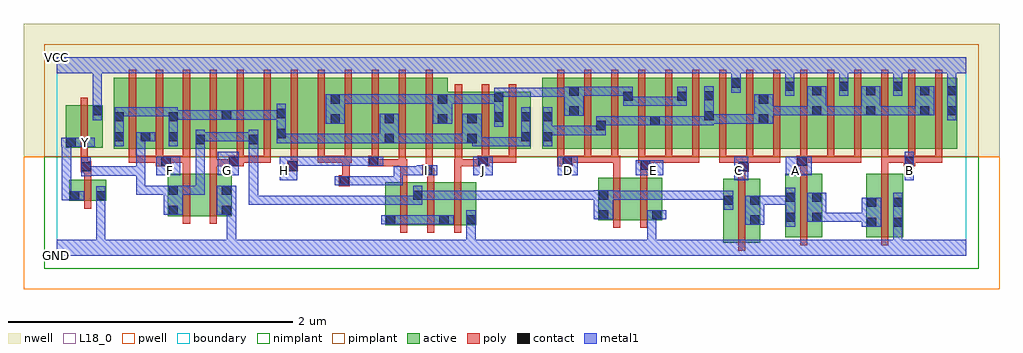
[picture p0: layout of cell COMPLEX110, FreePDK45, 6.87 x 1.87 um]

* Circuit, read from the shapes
.subckt COMPLEX110 A B C D E F G GND H I J VCC Y
M1 GND n1 Y VSUBS nfet w=0.15u l=0.05u
M2 n2 F n1 VSUBS nfet w=0.3u l=0.05u
M3 GND G n2 VSUBS nfet w=0.3u l=0.05u
M4 n1 H n3 VSUBS nfet w=0.3u l=0.05u
M5 n3 I n1 VSUBS nfet w=0.3u l=0.05u
M6 GND J n3 VSUBS nfet w=0.3u l=0.05u
M7 n4 D n1 VSUBS nfet w=0.3u l=0.05u
M8 GND E n4 VSUBS nfet w=0.3u l=0.05u
M9 n5 C n1 VSUBS nfet w=0.45u l=0.05u
M10 n6 A n5 VSUBS nfet w=0.45u l=0.05u
M11 GND B n6 VSUBS nfet w=0.45u l=0.05u
M12 VCC n1 Y n7 pfet w=0.3u l=0.05u
M13 n1 F n8 n7 pfet w=0.5u l=0.05u m=3
M14 n8 G n1 n7 pfet w=0.5u l=0.05u m=3
M15 n9 H n8 n7 pfet w=0.5u l=0.05u
M16 n10 I n9 n7 pfet w=0.5u l=0.05u
M17 n11 I n10 n7 pfet w=0.5u l=0.05u
M18 n8 H n11 n7 pfet w=0.5u l=0.05u
M19 n12 H n8 n7 pfet w=0.5u l=0.05u
M20 n10 I n12 n7 pfet w=0.5u l=0.05u
M21 n8 J n10 n7 pfet w=0.4u l=0.05u m=3
M22 n10 D n13 n7 pfet w=0.5u l=0.05u m=3
M23 n13 E n10 n7 pfet w=0.5u l=0.05u m=3
M24 VCC C n13 n7 pfet w=0.5u l=0.05u m=3
M25 n13 A VCC n7 pfet w=0.5u l=0.05u m=3
M26 VCC B n13 n7 pfet w=0.5u l=0.05u m=3
.ends

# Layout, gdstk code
import gdstk
lib = gdstk.Library(unit=1e-6, precision=1e-09)
def R(c, l, rs):  # rectangles x0, y0, x1, y1
    for r in rs: c.add(gdstk.rectangle(r[:2], r[2:], *l))
def A(c, l, x, y, w, h, nx, ny, dx, dy):  # array of equal rectangles
    R(c, l, [(x+i*dx, y+j*dy, x+i*dx+w, y+j*dy+h) for i in range(nx) for j in range(ny)])
active = (1, 0)
pwell = (2, 0)
nwell = (3, 0)
nimplant = (4, 0)
pimplant = (5, 0)
poly = (9, 0)
contact = (10, 0)
metal1 = (11, 0)
L18_0 = (18, 0)
boundary = (235, 0)

complex110 = lib.new_cell('COMPLEX110')
A(complex110, active, 1.542, 0.755, 0.225, 0.5, 3, 1, 0.38, 0)
A(complex110, active, 3.602, 0.755, 0.265, 0.5, 6, 1, 0.19, 0)
A(complex110, active, 5.122, 0.755, 0.265, 0.5, 6, 1, 0.19, 0)
A(complex110, active, 3.602, 0.807, 0.075, 0.393, 3, 1, 0.38, 0)
A(complex110, active, 4.742, 0.807, 0.075, 0.448, 4, 1, 0.38, 0)
A(complex110, active, 5.312, 0.807, 0.075, 0.393, 3, 1, 0.38, 0)
R(complex110, active, [(4.69,0.092,4.95,0.542), (5.127,0.13,5.387,0.58), (5.697,0.13,5.957,0.58), (4.69,0.195,4.765,0.542), (4.875,0.195,4.95,0.542), (5.127,0.195,5.202,0.58), (5.312,0.195,5.387,0.58), (5.697,0.195,5.772,0.58), (5.882,0.195,5.957,0.58), (2.312,0.217,2.577,0.517), (2.312,0.217,2.387,0.405), (2.502,0.217,2.762,0.517), (2.687,0.217,2.952,0.517), (2.687,0.217,2.762,0.497), (2.877,0.217,2.952,0.392), (3.81,0.252,4.035,0.552), (3.81,0.252,3.885,0.552), (4.035,0.252,4.26,0.552), (4.185,0.252,4.26,0.497), (0.782,0.28,1.007,0.58), (0.782,0.28,0.857,0.58), (1.007,0.28,1.232,0.58), (1.157,0.28,1.232,0.58), (2.502,0.33,2.577,0.465), (0.087,0.387,0.162,0.537), (0.087,0.387,0.347,0.537), (0.272,0.387,0.347,0.537), (0.402,0.755,0.662,1.255), (0.402,0.755,0.477,1.2), (0.587,0.755,0.857,1.255), (0.587,0.755,0.662,1.07), (0.782,0.755,1.047,1.255), (0.782,0.755,0.857,1.2), (0.972,0.755,1.232,1.255), (0.972,0.755,1.047,1.07), (1.157,0.755,1.422,1.255), (1.347,0.755,1.617,1.255), (1.347,0.755,1.422,1.07), (1.542,0.755,1.617,1.2), (1.767,0.755,1.997,1.255), (2.147,0.755,2.377,1.255), (2.302,0.755,2.377,1.07), (2.527,0.755,2.752,1.255), (2.677,0.755,2.96,1.155), (2.885,0.755,2.96,1.07), (2.885,0.755,3.147,1.155), (3.072,0.755,3.337,1.155), (3.262,0.755,3.337,1.07), (3.417,0.755,3.677,1.255), (3.417,0.755,3.492,1.07), (4.742,0.755,5.012,1.255), (4.937,0.755,5.197,1.255), (6.262,0.755,6.337,1.255), (0.062,0.76,0.322,1.06), (0.062,0.76,0.137,1.055), (0.247,0.76,0.322,1.06), (1.157,0.807,1.232,1.2), (1.922,0.807,1.997,1.2), (3.792,0.807,3.867,1.07), (4.172,0.807,4.247,1.07), (4.552,0.807,4.627,1.2), (4.937,0.807,5.012,1.2), (2.677,0.822,2.752,1.2), (3.072,0.907,3.147,1.155)])
R(complex110, pwell, [(-0.235,-0.235,6.635,0.7)])
R(complex110, nwell, [(-0.235,0.7,6.635,1.635)])
R(complex110, nimplant, [(-0.09,-0.09,6.49,0.7)])
R(complex110, pimplant, [(-0.09,0.7,6.49,1.49)])
A(complex110, poly, 2.417, 0.162, 0.05, 0.41, 3, 1, 0.19, 0)
A(complex110, poly, 0.507, 0.655, 0.05, 0.095, 3, 1, 0.19, 0)
A(complex110, poly, 1.837, 0.655, 0.05, 0.095, 3, 1, 0.19, 0)
A(complex110, poly, 3.522, 0.655, 0.05, 0.095, 15, 1, 0.19, 0)
A(complex110, poly, 3.712, 0.655, 0.24, 0.05, 3, 1, 0.57, 0)
A(complex110, poly, 5.422, 0.655, 0.05, 0.05, 3, 1, 0.19, 0)
A(complex110, poly, 0.507, 0.7, 0.05, 0.61, 12, 1, 0.19, 0)
A(complex110, poly, 2.802, 0.7, 0.05, 0.51, 3, 1, 0.19, 0)
A(complex110, poly, 3.522, 0.7, 0.05, 0.61, 15, 1, 0.19, 0)
R(complex110, poly, [(4.795,0.037,4.845,0.597), (5.232,0.075,5.282,0.635), (5.802,0.075,5.852,0.635), (3.915,0.197,3.965,0.607), (4.105,0.197,4.155,0.607), (0.887,0.225,0.937,0.635), (1.077,0.225,1.127,0.635), (0.192,0.332,0.242,0.592), (1.985,0.492,2.06,0.567), (2.01,0.517,2.06,0.705), (2.417,0.522,2.467,0.68), (2.607,0.522,2.657,0.617), (2.797,0.522,2.847,0.68), (0.192,0.542,0.242,0.64), (4.795,0.547,4.845,0.642), (3.915,0.557,3.965,0.705), (4.105,0.557,4.155,0.652), (2.572,0.567,2.647,0.642), (2.597,0.567,2.647,0.617), (2.597,0.567,2.657,0.617), (0.887,0.585,0.937,0.705), (1.077,0.585,1.127,0.68), (5.232,0.585,5.282,0.68), (5.802,0.585,5.852,0.705), (0.167,0.59,0.242,0.665), (0.192,0.59,0.242,0.64), (0.192,0.59,0.242,0.64), (2.597,0.592,2.647,0.75), (4.795,0.592,4.87,0.667), (1.622,0.595,1.697,0.67), (4.105,0.602,4.18,0.677), (0.167,0.615,0.217,0.755), (4.82,0.617,4.87,0.705), (1.647,0.62,1.697,0.75), (4.105,0.627,4.155,0.705), (0.697,0.63,0.805,0.705), (1.077,0.63,1.127,0.68), (1.077,0.63,1.127,0.68), (1.077,0.63,1.127,0.68), (1.077,0.63,1.127,0.68), (1.077,0.63,1.127,0.68), (1.077,0.63,1.127,0.75), (1.077,0.63,1.26,0.68), (1.21,0.63,1.317,0.705), (2.192,0.63,2.267,0.705), (2.217,0.63,2.457,0.68), (2.407,0.63,2.457,0.68), (2.407,0.63,2.457,0.68), (2.407,0.63,2.457,0.75), (2.407,0.63,2.467,0.68), (2.417,0.63,2.467,0.68), (2.417,0.63,2.467,0.68), (2.797,0.63,2.847,0.68), (2.797,0.63,2.847,0.68), (2.797,0.63,2.852,0.68), (2.802,0.63,3.012,0.68), (2.802,0.63,2.852,0.75), (2.962,0.63,3.012,0.68), (2.962,0.63,3.012,0.68), (2.962,0.63,3.042,0.705), (3.522,0.63,3.63,0.705), (5.207,0.63,5.282,0.705), (5.232,0.63,5.282,0.68), (5.232,0.63,5.282,0.68), (5.962,0.63,6.042,0.705), (0.507,0.655,0.557,0.705), (0.507,0.655,0.557,0.705), (0.507,0.655,0.557,0.705), (0.507,0.655,0.747,0.705), (0.755,0.655,0.805,0.705), (0.755,0.655,0.805,0.705), (0.755,0.655,0.937,0.705), (0.887,0.655,0.937,0.705), (0.887,0.655,0.937,0.705), (0.887,0.655,0.937,0.705), (1.267,0.655,1.317,0.75), (1.267,0.655,1.507,0.705), (1.457,0.655,1.507,0.75), (1.457,0.655,1.507,0.705), (1.457,0.655,1.507,0.705), (1.457,0.655,1.507,0.705), (1.837,0.655,1.887,0.705), (1.837,0.655,1.887,0.705), (1.837,0.655,1.887,0.705), (1.837,0.655,2.06,0.705), (2.01,0.655,2.077,0.705), (2.992,0.655,3.042,0.75), (2.992,0.655,3.232,0.705), (3.182,0.655,3.232,0.75), (3.182,0.655,3.232,0.705), (3.182,0.655,3.232,0.705), (3.182,0.655,3.232,0.705), (3.58,0.655,3.63,0.705), (3.58,0.655,3.63,0.705), (3.58,0.655,3.762,0.705), (3.712,0.655,3.762,0.705), (3.902,0.655,3.952,0.705), (3.902,0.655,3.952,0.705), (3.902,0.655,3.952,0.705), (3.902,0.655,3.952,0.705), (3.902,0.655,3.965,0.705), (4.092,0.655,4.155,0.705), (4.105,0.655,4.155,0.705), (4.105,0.655,4.155,0.705), (4.105,0.655,4.332,0.705), (4.282,0.655,4.332,0.705), (4.472,0.655,4.522,0.705), (4.472,0.655,4.522,0.705), (4.472,0.655,4.522,0.705), (4.662,0.655,4.712,0.705), (4.662,0.655,4.712,0.705), (4.662,0.655,4.712,0.705), (4.662,0.655,4.87,0.705), (4.82,0.655,4.902,0.705), (5.042,0.655,5.092,0.705), (5.042,0.655,5.092,0.705), (5.042,0.655,5.092,0.705), (5.232,0.655,5.282,0.705), (5.232,0.655,5.282,0.705), (5.232,0.655,5.472,0.705), (5.422,0.655,5.472,0.705), (5.422,0.655,5.472,0.705), (5.422,0.655,5.662,0.705), (5.802,0.655,5.852,0.705), (5.802,0.655,5.852,0.705), (5.802,0.655,6.012,0.705), (5.962,0.655,6.012,0.705), (5.962,0.655,6.012,0.705), (5.992,0.655,6.232,0.705), (6.182,0.655,6.232,0.705), (6.182,0.655,6.232,0.705), (6.182,0.655,6.232,0.705), (0.167,0.705,0.217,1.115)])
A(complex110, contact, 5.317, 0.99, 0.065, 0.065, 3, 2, 0.38, 0.14)
A(complex110, contact, 5.127, 1.162, 0.065, 0.065, 3, 1, 0.38, 0)
R(complex110, contact, [(5.702,0.205,5.767,0.27), (5.887,0.205,5.952,0.27), (4.88,0.22,4.945,0.285), (2.317,0.222,2.382,0.287), (2.692,0.222,2.757,0.287), (2.882,0.222,2.947,0.287), (5.132,0.24,5.197,0.305), (5.317,0.24,5.382,0.305), (3.815,0.257,3.88,0.322), (4.19,0.257,4.255,0.322), (0.787,0.29,0.852,0.355), (1.162,0.29,1.227,0.355), (5.702,0.345,5.767,0.41), (5.887,0.345,5.952,0.41), (4.695,0.36,4.76,0.425), (4.88,0.36,4.945,0.425), (5.132,0.38,5.197,0.445), (5.317,0.38,5.382,0.445), (0.092,0.392,0.157,0.457), (0.277,0.392,0.342,0.457), (2.507,0.395,2.572,0.46), (3.815,0.397,3.88,0.462), (0.787,0.43,0.852,0.495), (1.162,0.43,1.227,0.495), (1.99,0.497,2.055,0.562), (2.577,0.572,2.642,0.637), (0.172,0.595,0.237,0.66), (4.8,0.597,4.865,0.662), (1.627,0.6,1.692,0.665), (4.11,0.607,4.175,0.672), (0.735,0.635,0.8,0.7), (1.215,0.635,1.28,0.7), (2.197,0.635,2.262,0.7), (2.967,0.635,3.032,0.7), (3.56,0.635,3.625,0.7), (5.212,0.635,5.277,0.7), (5.967,0.635,6.032,0.7), (0.067,0.767,0.132,0.832), (0.977,0.787,1.042,0.852), (1.352,0.787,1.417,0.852), (2.307,0.795,2.372,0.86), (2.89,0.795,2.955,0.86), (0.407,0.807,0.472,0.872), (0.592,0.807,0.657,0.872), (0.787,0.807,0.852,0.872), (3.267,0.807,3.332,0.872), (3.422,0.807,3.487,0.872), (1.547,0.83,1.612,0.895), (3.797,0.885,3.862,0.95), (4.177,0.92,4.242,0.985), (1.927,0.932,1.992,0.997), (2.682,0.932,2.747,0.997), (4.942,0.932,5.007,0.997), (2.307,0.935,2.372,1), (2.89,0.935,2.955,1), (3.077,0.945,3.142,1.01), (0.407,0.947,0.472,1.012), (0.787,0.947,0.852,1.012), (3.267,0.947,3.332,1.012), (3.422,0.947,3.487,1.012), (4.557,0.955,4.622,1.02), (1.162,0.96,1.227,1.025), (1.547,0.97,1.612,1.035), (3.607,0.987,3.672,1.052), (0.252,0.99,0.317,1.055), (6.267,0.99,6.332,1.055), (1.927,1.072,1.992,1.137), (2.682,1.072,2.747,1.137), (4.942,1.072,5.007,1.137), (3.077,1.085,3.142,1.15), (3.987,1.092,4.052,1.157), (4.367,1.092,4.432,1.157), (4.557,1.095,4.622,1.16), (3.607,1.127,3.672,1.192), (6.267,1.13,6.332,1.195), (4.747,1.185,4.812,1.25)])
A(complex110, metal1, 5.282, 0.99, 0.135, 0.205, 3, 1, 0.38, 0)
A(complex110, metal1, 5.127, 1.127, 0.065, 0.135, 3, 1, 0.38, 0)
A(complex110, metal1, 5.127, 1.197, 0.065, 0.153, 3, 1, 0.38, 0)
R(complex110, metal1, [(0,0,6.4,0.115), (0.277,0.05,0.342,0.115), (0.277,0.05,0.342,0.115), (0.277,0.05,0.342,0.422), (1.197,0.05,1.262,0.355), (2.882,0.05,2.947,0.115), (2.882,0.05,2.947,0.115), (2.882,0.05,2.947,0.252), (4.155,0.05,4.22,0.322), (5.887,0.05,5.952,0.235), (5.887,0.17,5.952,0.445), (2.882,0.187,2.947,0.322), (5.132,0.205,5.197,0.48), (5.667,0.205,5.802,0.41), (4.845,0.22,4.98,0.425), (2.282,0.222,2.417,0.287), (2.352,0.222,2.435,0.287), (2.37,0.222,2.435,0.287), (2.37,0.222,2.575,0.287), (2.51,0.222,2.575,0.287), (2.51,0.222,2.575,0.287), (2.51,0.222,2.575,0.287), (2.51,0.222,2.722,0.287), (2.657,0.222,2.792,0.287), (5.282,0.24,5.417,0.445), (5.352,0.24,5.417,0.305), (5.352,0.24,5.417,0.305), (5.352,0.24,5.555,0.305), (5.49,0.24,5.555,0.305), (5.49,0.24,5.555,0.305), (5.49,0.24,5.555,0.305), (5.49,0.24,5.732,0.305), (3.78,0.257,3.915,0.462), (4.155,0.257,4.22,0.322), (4.155,0.257,4.22,0.322), (4.155,0.257,4.29,0.322), (0.752,0.29,0.887,0.495), (1.127,0.29,1.262,0.495), (1.197,0.29,1.262,0.355), (1.197,0.29,1.262,0.355), (4.695,0.325,4.76,0.46), (0.277,0.357,0.342,0.422), (0.277,0.357,0.342,0.422), (0.277,0.357,0.342,0.492), (1.352,0.36,1.417,0.425), (1.352,0.36,1.417,0.425), (1.352,0.36,1.417,0.425), (1.352,0.36,1.612,0.425), (1.352,0.36,1.417,0.817), (1.547,0.36,1.612,0.425), (1.547,0.36,1.612,0.425), (1.547,0.36,1.612,0.425), (1.547,0.36,1.82,0.425), (1.755,0.36,1.82,0.425), (1.755,0.36,1.83,0.425), (1.765,0.36,1.83,0.425), (1.765,0.36,2.06,0.425), (1.995,0.36,2.06,0.425), (1.995,0.36,2.06,0.425), (1.995,0.36,2.06,0.425), (1.995,0.36,2.2,0.425), (2.135,0.36,2.2,0.425), (2.135,0.36,2.297,0.425), (2.232,0.36,2.297,0.425), (2.232,0.36,2.435,0.425), (2.37,0.36,2.572,0.425), (2.37,0.36,2.435,0.425), (2.37,0.36,2.435,0.425), (2.37,0.36,2.435,0.425), (2.507,0.36,2.572,0.495), (4.915,0.36,4.98,0.425), (4.915,0.36,4.98,0.425), (4.915,0.36,5.197,0.425), (0.035,0.392,0.1,0.457), (0.035,0.392,0.1,0.457), (0.035,0.392,0.1,0.457), (0.035,0.392,0.1,0.457), (0.035,0.392,0.1,0.832), (0.035,0.392,0.122,0.457), (0.057,0.392,0.122,0.457), (0.057,0.392,0.192,0.457), (2.507,0.395,2.572,0.46), (2.507,0.395,2.572,0.46), (2.507,0.395,2.782,0.46), (2.717,0.395,2.782,0.46), (2.717,0.395,2.782,0.46), (2.717,0.395,2.782,0.46), (2.717,0.395,2.99,0.46), (2.925,0.395,3.127,0.46), (2.925,0.395,2.99,0.46), (2.925,0.395,2.99,0.46), (2.925,0.395,2.99,0.46), (3.062,0.395,3.127,0.46), (3.062,0.395,3.127,0.46), (3.062,0.395,3.127,0.46), (3.062,0.395,3.28,0.46), (3.215,0.395,3.28,0.46), (3.215,0.395,3.432,0.46), (3.367,0.395,3.432,0.46), (3.367,0.395,3.432,0.46), (3.367,0.395,3.432,0.46), (3.367,0.395,3.707,0.46), (3.642,0.395,3.707,0.46), (3.642,0.395,3.707,0.46), (3.642,0.395,3.707,0.46), (3.642,0.395,3.845,0.46), (3.85,0.395,3.915,0.46), (3.85,0.395,3.915,0.46), (3.85,0.395,4.07,0.46), (4.005,0.395,4.207,0.46), (4.005,0.395,4.07,0.46), (4.005,0.395,4.07,0.46), (4.005,0.395,4.07,0.46), (4.142,0.395,4.207,0.46), (4.142,0.395,4.207,0.46), (4.142,0.395,4.207,0.46), (4.142,0.395,4.415,0.46), (4.35,0.395,4.552,0.46), (4.35,0.395,4.415,0.46), (4.487,0.395,4.552,0.46), (4.487,0.395,4.552,0.46), (4.487,0.395,4.552,0.46), (4.487,0.395,4.695,0.46), (4.63,0.395,4.695,0.46), (4.63,0.395,4.76,0.46), (0.557,0.43,0.622,0.495), (0.557,0.43,0.785,0.495), (0.557,0.43,0.622,0.63), (0.72,0.43,0.785,0.495), (0.72,0.43,0.785,0.495), (0.72,0.43,0.817,0.495), (0.752,0.43,0.817,0.495), (0.752,0.43,0.922,0.495), (0.857,0.43,0.922,0.495), (0.857,0.43,1.042,0.495), (0.977,0.43,1.042,0.495), (0.977,0.43,1.042,0.817), (1.955,0.497,2.09,0.562), (2.025,0.497,2.2,0.562), (2.135,0.497,2.2,0.562), (2.135,0.497,2.297,0.562), (2.232,0.497,2.297,0.562), (2.232,0.497,2.435,0.562), (2.37,0.497,2.435,0.562), (2.37,0.497,2.435,0.632), (1.567,0.532,1.692,0.7), (4.767,0.532,4.865,0.697), (5.967,0.532,6.032,0.735), (0.172,0.56,0.237,0.695), (0.172,0.565,0.237,0.63), (0.172,0.565,0.237,0.63), (0.172,0.565,0.485,0.63), (0.42,0.565,0.622,0.63), (0.42,0.565,0.485,0.63), (0.42,0.565,0.485,0.63), (0.42,0.565,0.485,0.63), (0.557,0.565,0.622,0.63), (0.557,0.565,0.622,0.872), (0.7,0.567,0.867,0.7), (1.132,0.567,1.28,0.735), (2.37,0.567,2.572,0.632), (2.37,0.567,2.435,0.632), (2.37,0.567,2.435,0.632), (2.37,0.567,2.435,0.632), (2.507,0.567,2.572,0.632), (2.507,0.567,2.597,0.632), (2.532,0.567,2.677,0.637), (2.932,0.567,3.067,0.7), (3.525,0.567,3.667,0.7), (4.075,0.567,4.267,0.672), (5.132,0.567,5.312,0.7), (1.627,0.635,1.75,0.7), (1.685,0.635,1.75,0.7), (1.685,0.635,1.845,0.7), (1.78,0.635,1.845,0.7), (1.78,0.635,2.06,0.7), (1.995,0.635,2.197,0.7), (1.995,0.635,2.06,0.7), (1.995,0.635,2.06,0.7), (1.995,0.635,2.06,0.7), (2.132,0.635,2.197,0.7), (2.132,0.635,2.227,0.7), (2.162,0.635,2.297,0.7), (0.977,0.752,1.042,0.817), (0.977,0.752,1.042,0.817), (0.977,0.752,1.042,0.887), (1.352,0.752,1.417,0.817), (1.352,0.752,1.417,0.817), (1.352,0.752,1.417,0.817), (1.352,0.752,1.417,0.817), (1.352,0.752,1.417,0.887), (0.032,0.767,0.267,0.832), (0.407,0.772,0.472,1.047), (0.787,0.772,0.852,1.047), (2.925,0.772,3.127,0.837), (2.925,0.772,2.99,0.86), (3.062,0.772,3.127,0.837), (3.062,0.772,3.127,0.837), (3.062,0.772,3.127,0.837), (3.062,0.772,3.332,0.837), (3.267,0.772,3.332,1.047), (3.422,0.772,3.487,1.047), (1.547,0.795,1.612,1.07), (1.547,0.795,1.612,0.86), (1.547,0.795,1.612,0.86), (1.547,0.795,1.82,0.86), (1.755,0.795,1.82,0.86), (1.755,0.795,1.83,0.86), (1.765,0.795,1.83,0.86), (1.765,0.795,1.982,0.86), (1.917,0.795,1.982,0.86), (1.917,0.795,1.982,0.86), (1.917,0.795,1.982,0.86), (1.917,0.795,2.2,0.86), (2.135,0.795,2.2,0.86), (2.135,0.795,2.227,0.86), (2.162,0.795,2.227,0.86), (2.162,0.795,2.337,0.86), (2.272,0.795,2.407,1), (2.342,0.795,2.435,0.86), (2.37,0.795,2.435,0.86), (2.37,0.795,2.575,0.86), (2.51,0.795,2.712,0.86), (2.51,0.795,2.575,0.86), (2.51,0.795,2.575,0.86), (2.51,0.795,2.575,0.86), (2.647,0.795,2.712,0.86), (2.647,0.795,2.852,0.86), (2.787,0.795,2.852,0.86), (2.787,0.795,2.92,0.86), (2.855,0.795,2.99,1), (2.925,0.795,2.99,0.86), (0.557,0.807,0.692,0.872), (0.977,0.807,1.06,0.872), (0.995,0.807,1.197,0.872), (0.995,0.807,1.06,0.872), (1.132,0.807,1.197,0.872), (1.132,0.807,1.197,0.872), (1.132,0.807,1.197,0.872), (1.132,0.807,1.417,0.872), (3.422,0.85,3.487,0.915), (3.422,0.85,3.487,0.915), (3.422,0.85,3.707,0.915), (3.642,0.85,3.707,0.915), (3.642,0.85,3.707,0.915), (3.642,0.85,3.707,0.915), (3.642,0.85,3.862,0.915), (3.797,0.85,3.862,0.985), (3.077,0.91,3.142,1.185), (3.797,0.92,3.862,0.985), (3.797,0.92,3.862,0.985), (3.797,0.92,4.052,0.985), (3.987,0.92,4.052,0.985), (3.987,0.92,4.052,0.985), (3.987,0.92,4.052,0.985), (3.987,0.92,4.207,0.985), (4.142,0.92,4.277,0.985), (4.212,0.92,4.277,0.985), (4.212,0.92,4.277,0.985), (4.212,0.92,4.415,0.985), (4.35,0.92,4.415,0.985), (4.35,0.92,4.415,0.985), (4.35,0.92,4.415,0.985), (4.35,0.92,4.622,0.985), (4.557,0.92,4.622,1.195), (1.892,0.932,2.027,1.137), (2.647,0.932,2.782,1.137), (4.557,0.932,4.69,0.997), (4.625,0.932,4.69,0.997), (4.625,0.932,4.76,0.997), (4.695,0.932,4.76,0.997), (4.695,0.932,4.842,0.997), (4.777,0.932,4.842,0.997), (4.777,0.932,4.972,0.997), (4.907,0.932,5.042,1.137), (0.252,0.955,0.317,1.09), (6.267,0.955,6.332,1.23), (0.787,0.96,0.922,1.025), (0.857,0.96,0.922,1.025), (0.857,0.96,1.055,1.025), (0.99,0.96,1.055,1.025), (0.99,0.96,1.06,1.025), (0.995,0.96,1.06,1.025), (0.995,0.96,1.192,1.025), (1.127,0.96,1.262,1.025), (1.197,0.96,1.262,1.025), (1.197,0.96,1.262,1.025), (1.197,0.96,1.417,1.025), (1.352,0.96,1.417,1.025), (1.352,0.96,1.417,1.025), (1.352,0.96,1.417,1.025), (1.352,0.96,1.612,1.025), (0.407,0.982,0.472,1.047), (0.407,0.982,0.472,1.047), (0.407,0.982,0.647,1.047), (0.582,0.982,0.647,1.047), (0.582,0.982,0.647,1.047), (0.582,0.982,0.647,1.047), (0.582,0.982,0.852,1.047), (3.572,0.987,3.707,1.192), (4.977,0.99,5.042,1.055), (4.977,0.99,5.042,1.055), (4.977,0.99,5.18,1.055), (5.115,0.99,5.18,1.055), (5.115,0.99,5.18,1.055), (5.115,0.99,5.18,1.055), (5.115,0.99,5.347,1.055), (5.352,0.99,5.417,1.055), (5.352,0.99,5.417,1.055), (5.352,0.99,5.555,1.055), (5.49,0.99,5.555,1.055), (5.49,0.99,5.555,1.055), (5.49,0.99,5.555,1.055), (5.49,0.99,5.727,1.055), (5.732,0.99,5.797,1.055), (5.732,0.99,5.797,1.055), (5.732,0.99,5.97,1.055), (5.905,0.99,6.107,1.055), (5.905,0.99,5.97,1.055), (5.905,0.99,5.97,1.055), (5.905,0.99,5.97,1.055), (0.252,1.025,0.317,1.35), (3.987,1.057,4.052,1.122), (3.987,1.057,4.052,1.122), (3.987,1.057,4.052,1.122), (3.987,1.057,4.052,1.122), (3.987,1.057,4.052,1.192), (3.987,1.057,4.277,1.122), (4.212,1.057,4.277,1.122), (4.212,1.057,4.277,1.122), (4.212,1.057,4.277,1.122), (4.212,1.057,4.432,1.122), (4.367,1.057,4.432,1.192), (1.962,1.072,2.027,1.137), (1.962,1.072,2.027,1.137), (1.962,1.072,2.2,1.137), (2.135,1.072,2.2,1.137), (2.135,1.072,2.297,1.137), (2.232,1.072,2.297,1.137), (2.232,1.072,2.435,1.137), (2.37,1.072,2.435,1.137), (2.37,1.072,2.435,1.137), (2.37,1.072,2.435,1.137), (2.37,1.072,2.575,1.137), (2.51,1.072,2.712,1.137), (2.51,1.072,2.575,1.137), (2.51,1.072,2.575,1.137), (2.51,1.072,2.575,1.137), (2.717,1.072,2.782,1.137), (2.717,1.072,2.782,1.137), (2.717,1.072,2.99,1.137), (2.925,1.072,2.99,1.137), (2.925,1.072,2.99,1.137), (2.925,1.072,2.99,1.137), (2.925,1.072,3.142,1.137), (3.077,1.12,3.142,1.185), (3.077,1.12,3.142,1.185), (3.077,1.12,3.28,1.185), (3.215,1.12,3.28,1.185), (3.215,1.12,3.28,1.185), (3.215,1.12,3.28,1.185), (3.215,1.12,3.57,1.185), (3.505,1.12,3.57,1.185), (3.505,1.12,3.637,1.185), (3.642,1.127,3.707,1.192), (3.642,1.127,3.707,1.192), (3.642,1.127,3.845,1.192), (3.78,1.127,3.845,1.192), (3.78,1.127,3.845,1.192), (3.78,1.127,3.845,1.192), (3.78,1.127,4.052,1.192), (4.747,1.15,4.812,1.285), (6.267,1.165,6.332,1.35), (4.747,1.22,4.812,1.35), (0,1.285,6.4,1.4), (0.252,1.285,0.317,1.35), (0.252,1.285,0.317,1.35)])
A(complex110, L18_0, 0.767, 0.567, 0.065, 0.065, 3, 1, 0.4, 0)
A(complex110, L18_0, 2.967, 0.567, 0.065, 0.065, 4, 1, 0.6, 0)
A(complex110, L18_0, 5.127, 1.127, 0.065, 0.135, 3, 1, 0.38, 0)
A(complex110, L18_0, 5.127, 1.197, 0.065, 0.153, 3, 1, 0.38, 0)
R(complex110, L18_0, [(0,0,6.4,0.115), (0.277,0.05,0.342,0.115), (0.277,0.05,0.342,0.115), (0.277,0.05,0.342,0.422), (1.197,0.05,1.262,0.355), (2.882,0.05,2.947,0.115), (2.882,0.05,2.947,0.115), (2.882,0.05,2.947,0.252), (4.155,0.05,4.22,0.322), (5.887,0.05,5.952,0.235), (5.887,0.17,5.952,0.445), (2.882,0.187,2.947,0.322), (4.155,0.257,4.29,0.322), (4.155,0.257,4.22,0.322), (4.155,0.257,4.22,0.322), (1.127,0.29,1.262,0.495), (1.197,0.29,1.262,0.355), (1.197,0.29,1.262,0.355), (0.277,0.357,0.342,0.422), (0.277,0.357,0.342,0.422), (0.277,0.357,0.342,0.492), (0.035,0.392,0.122,0.457), (0.035,0.392,0.1,0.457), (0.035,0.392,0.1,0.457), (0.035,0.392,0.1,0.457), (0.035,0.392,0.1,0.457), (0.035,0.392,0.1,0.832), (0.057,0.392,0.192,0.457), (0.057,0.392,0.122,0.457), (1.955,0.497,2.09,0.562), (2.025,0.497,2.2,0.562), (2.135,0.497,2.2,0.562), (2.135,0.497,2.297,0.562), (2.232,0.497,2.297,0.562), (2.232,0.497,2.435,0.562), (2.37,0.497,2.435,0.562), (2.37,0.497,2.435,0.632), (1.567,0.532,1.692,0.7), (4.767,0.532,4.865,0.697), (5.967,0.532,6.032,0.735), (0.7,0.567,0.867,0.7), (1.132,0.567,1.28,0.735), (2.37,0.567,2.435,0.632), (2.37,0.567,2.435,0.632), (2.37,0.567,2.435,0.632), (2.37,0.567,2.572,0.632), (2.507,0.567,2.572,0.632), (2.507,0.567,2.597,0.632), (2.532,0.567,2.677,0.637), (2.567,0.567,2.632,0.632), (2.932,0.567,3.067,0.7), (3.525,0.567,3.667,0.7), (4.075,0.567,4.267,0.672), (5.132,0.567,5.312,0.7), (5.167,0.567,5.232,0.632), (5.967,0.567,6.032,0.632), (1.627,0.635,1.75,0.7), (1.685,0.635,1.75,0.7), (1.685,0.635,1.845,0.7), (1.78,0.635,1.845,0.7), (1.78,0.635,2.06,0.7), (1.995,0.635,2.06,0.7), (1.995,0.635,2.06,0.7), (1.995,0.635,2.06,0.7), (1.995,0.635,2.197,0.7), (2.132,0.635,2.197,0.7), (2.132,0.635,2.227,0.7), (2.162,0.635,2.297,0.7), (0.032,0.767,0.267,0.832), (0.167,0.767,0.232,0.832), (0.252,0.955,0.317,1.09), (6.267,0.955,6.332,1.23), (0.252,1.025,0.317,1.35), (4.747,1.15,4.812,1.285), (6.267,1.165,6.332,1.35), (4.747,1.22,4.812,1.35), (0,1.285,6.4,1.4), (0.252,1.285,0.317,1.35), (0.252,1.285,0.317,1.35)])
R(complex110, boundary, [(0,0,6.4,1.4)])
complex110.add(gdstk.Label('A', (5.2,0.6), layer=11, texttype=0))
complex110.add(gdstk.Label('B', (6,0.6), layer=11, texttype=0))
complex110.add(gdstk.Label('C', (4.8,0.6), layer=11, texttype=0))
complex110.add(gdstk.Label('D', (3.6,0.6), layer=11, texttype=0))
complex110.add(gdstk.Label('E', (4.2,0.6), layer=11, texttype=0))
complex110.add(gdstk.Label('F', (0.8,0.6), layer=11, texttype=0))
complex110.add(gdstk.Label('G', (1.2,0.6), layer=11, texttype=0))
complex110.add(gdstk.Label('H', (1.6,0.6), layer=11, texttype=0))
complex110.add(gdstk.Label('I', (2.6,0.6), layer=11, texttype=0))
complex110.add(gdstk.Label('J', (3,0.6), layer=11, texttype=0))
complex110.add(gdstk.Label('Y', (0.2,0.8), layer=11, texttype=0))
complex110.add(gdstk.Label('VCC', (0,1.4), layer=11, texttype=0))
complex110.add(gdstk.Label('GND', (0,0), layer=11, texttype=0))

lib.write_gds('COMPLEX110.gds')
